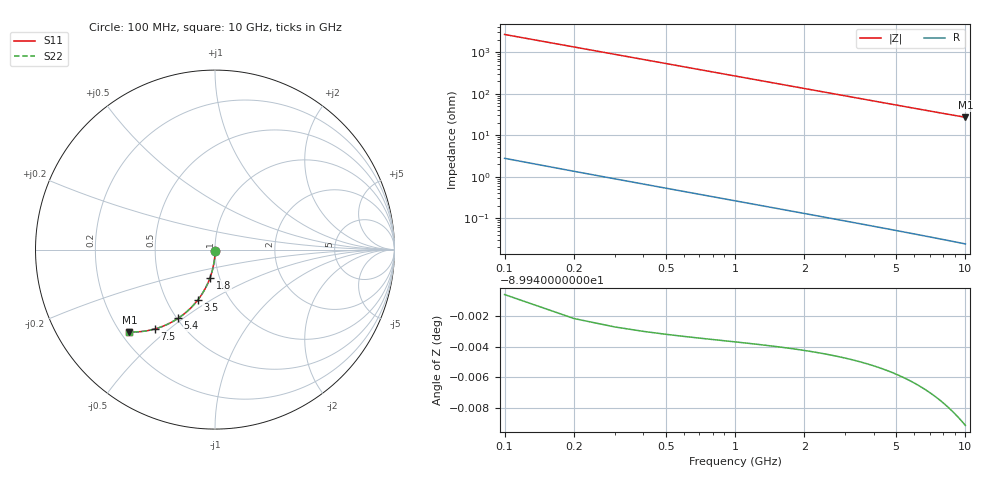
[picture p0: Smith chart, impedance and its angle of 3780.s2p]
# Hz S RI R 50.00
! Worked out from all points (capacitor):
!   100 points, 100 MHz to 10 GHz, reference 50 ohm
!   read as one part in shunt: C = 594 fF near 100 MHz
!   lowest |Z| = 27.1 ohm at 10 GHz (marker M1)
!   S11 on the Smith chart (normalised r, x): 100 MHz: 1.00, -0.02; 1.8 GHz: 0.90, -0.29; 3.5 GHz: 0.71, -0.44; 5.4 GHz: 0.51, -0.48; 7.5 GHz: 0.35, -0.45; 10 GHz: 0.23, -0.38
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1e8  2.95e-06 -0.00894  0.9998 -0.00972  0.9998 -0.00972  2.95e-06 -0.00894
2e8  -0.000266 -0.0179  0.9995 -0.0194  0.9995 -0.0194  -0.000266 -0.0179
3e8  -0.000709 -0.0268  0.9991 -0.0291  0.9991 -0.0291  -0.000709 -0.0268
4e8  -0.00133 -0.0357  0.9985 -0.0388  0.9985 -0.0388  -0.00133 -0.0357
5e8  -0.00211 -0.0446  0.9977 -0.0485  0.9977 -0.0485  -0.00211 -0.0446
6e8  -0.00308 -0.0535  0.9967 -0.0582  0.9967 -0.0582  -0.00308 -0.0535
8e8  -0.00551 -0.0712  0.9943 -0.0774  0.9943 -0.0774  -0.00551 -0.0712
1.1e9  -0.0104 -0.0974  0.9893 -0.106  0.9893 -0.106  -0.0104 -0.0974
1.4e9  -0.0168 -0.1231  0.9829 -0.1341  0.9829 -0.1341  -0.0168 -0.1231
1.8e9  -0.0276 -0.1566  0.9721 -0.1707  0.9721 -0.1707  -0.0276 -0.1566
2.1e9  -0.0372 -0.1809  0.9625 -0.1973  0.9625 -0.1973  -0.0372 -0.1809
2.5e9  -0.052 -0.2121  0.9476 -0.2317  0.9476 -0.2317  -0.052 -0.2121
2.9e9  -0.0688 -0.2417  0.9307 -0.2644  0.9307 -0.2644  -0.0688 -0.2417
3.4e9  -0.0924 -0.2761  0.9071 -0.3028  0.9071 -0.3028  -0.0924 -0.2761
3.5e9  -0.0974 -0.2827  0.902 -0.3101  0.902 -0.3101  -0.0974 -0.2827
4.3e9  -0.1405 -0.3305  0.8587 -0.3644  0.8587 -0.3644  -0.1405 -0.3305
5.1e9  -0.1876 -0.3702  0.8114 -0.4104  0.8114 -0.4104  -0.1876 -0.3702
5.4e9  -0.2059 -0.3829  0.793 -0.4256  0.793 -0.4256  -0.2059 -0.3829
6.7e9  -0.2867 -0.4255  0.7116 -0.4788  0.7116 -0.4788  -0.2867 -0.4255
7.5e9  -0.336 -0.4423  0.662 -0.5021  0.662 -0.5021  -0.336 -0.4423
8.4e9  -0.3896 -0.4538  0.6079 -0.5211  0.6079 -0.5211  -0.3896 -0.4538
1e10  -0.4773 -0.4586  0.5192 -0.5394  0.5192 -0.5394  -0.4773 -0.4586
